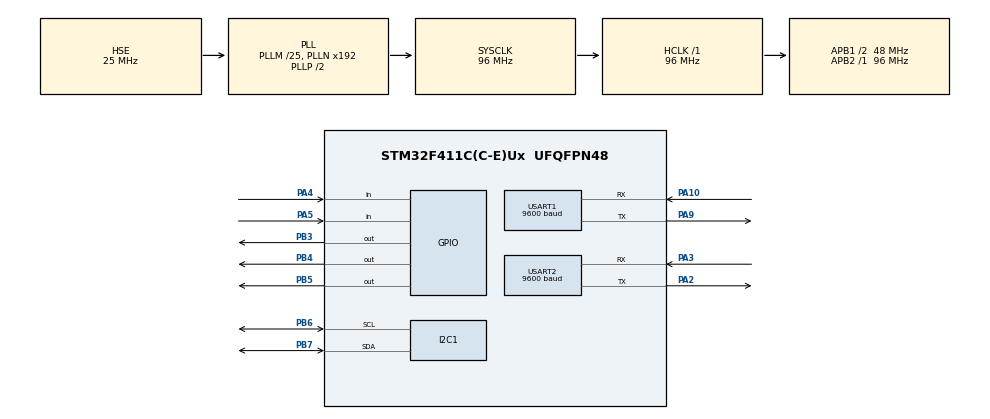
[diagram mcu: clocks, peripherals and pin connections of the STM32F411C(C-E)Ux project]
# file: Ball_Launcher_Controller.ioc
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Mcu.Family=STM32F4
Mcu.Name=STM32F411C(C-E)Ux
Mcu.Package=UFQFPN48
NVIC.PriorityGroup=NVIC_PRIORITYGROUP_4
PA10.Mode=Asynchronous
PA10.Signal=USART1_RX
PA2.Mode=Asynchronous
PA2.Signal=USART2_TX
PA3.Mode=Asynchronous
PA3.Signal=USART2_RX
PA4.GPIO_PuPd=GPIO_PULLDOWN
PA4.Signal=GPIO_Input
PA5.GPIO_PuPd=GPIO_PULLDOWN
PA5.Signal=GPIO_Input
PA9.Mode=Asynchronous
PA9.Signal=USART1_TX
PB3.Signal=GPIO_Output
PB4.Signal=GPIO_Output
PB5.Signal=GPIO_Output
PB6.Mode=I2C
PB6.Signal=I2C1_SCL
PB7.Mode=I2C
PB7.Signal=I2C1_SDA
PH0\ -\ OSC_IN.Mode=HSE-External-Oscillator
PH0\ -\ OSC_IN.Signal=RCC_OSC_IN
PH1\ -\ OSC_OUT.Mode=HSE-External-Oscillator
PH1\ -\ OSC_OUT.Signal=RCC_OSC_OUT
ProjectManager.HeapSize=0x200
ProjectManager.StackSize=0x400
ProjectManager.TargetToolchain=STM32CubeIDE
RCC.48MHZClocksFreq_Value=48000000
RCC.AHBFreq_Value=96000000
RCC.APB1CLKDivider=RCC_HCLK_DIV2
RCC.APB1Freq_Value=48000000
RCC.APB1TimFreq_Value=96000000
RCC.APB2Freq_Value=96000000
RCC.APB2TimFreq_Value=96000000
RCC.CortexFreq_Value=96000000
RCC.HCLKFreq_Value=96000000
RCC.HSE_VALUE=25000000
RCC.HSI_VALUE=16000000
RCC.LSE_VALUE=32768
RCC.PLLM=25
RCC.PLLSourceVirtual=RCC_PLLSOURCE_HSE
RCC.SYSCLKFreq_VALUE=96000000
RCC.SYSCLKSource=RCC_SYSCLKSOURCE_PLLCLK
RCC.VCOOutputFreq_Value=192000000
USART1.BaudRate=9600
USART1.VirtualMode=VM_ASYNC
USART2.BaudRate=9600
USART2.VirtualMode=VM_ASYNC
board=custom

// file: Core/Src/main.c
/* USER CODE BEGIN Header */
/**
  ******************************************************************************
  * @file            main.c
  * @brief           Main program body
  ******************************************************************************
  * @attention
  *
  * Copyright (c) 2024 STMicroelectronics.
  * All rights reserved.
  *
  * This software is licensed under terms that can be found in the LICENSE file
  * in the root directory of this software component.
  * If no LICENSE file comes with this software, it is provided AS-IS.
  *
  ******************************************************************************
  */
/* USER CODE END Header */
#include "main.h"

/* USER CODE BEGIN Includes */
#include "mpu6050.h"
#include <stdio.h>
#include <string.h>
/* USER CODE END Includes */

I2C_HandleTypeDef hi2c1;

UART_HandleTypeDef huart1;
UART_HandleTypeDef huart2;

void SystemClock_Config(void);
static void MX_GPIO_Init(void);
static void MX_I2C1_Init(void);
static void MX_USART1_UART_Init(void);
static void MX_USART2_UART_Init(void);

/* USER CODE BEGIN 0 */

int32_t gX = 0;
int32_t gY = 0;
int32_t gZ = 0;
uint16_t stat = 0;
uint16_t shot = 0;
uint16_t move = 0;
char buffer[100];
/* USER CODE END 0 */

int main(void)
{

  /* MCU Configuration--------------------------------------------------------*/

  /* Reset of all peripherals, Initializes the Flash interface and the Systick. */
  HAL_Init();

  /* Configure the system clock */
  SystemClock_Config();

  /* Initialize all configured peripherals */
  MX_GPIO_Init();
  MX_I2C1_Init();
  MX_USART1_UART_Init();
  MX_USART2_UART_Init();
  /* USER CODE BEGIN 2 */

  MPU6050 imu;
  stat = mpu6050_init(&imu, &hi2c1);
  mpu6050_calibrate(&imu);
  /* USER CODE END 2 */

  /* Infinite loop */
  /* USER CODE BEGIN WHILE */
  while (1)
  {

	  shot = HAL_GPIO_ReadPin(GPIOA, GPIO_PIN_4);
	  move = HAL_GPIO_ReadPin(GPIOA, GPIO_PIN_5);

	  HAL_GPIO_WritePin(GPIOB, GPIO_PIN_3, stat);
	  HAL_GPIO_WritePin(GPIOB, GPIO_PIN_4, shot);
	  HAL_GPIO_WritePin(GPIOB, GPIO_PIN_5, move);

	  mpu6050_update(&imu);
	  gX = mpu6050_get_gX(&imu);
	  gY = mpu6050_get_gY(&imu);
	  gZ = mpu6050_get_gZ(&imu);

	  snprintf(buffer, sizeof(buffer), "%ld\t%ld\t%ld\t%ld\r\n",move,shot,gZ,gY);
	  HAL_UART_Transmit(&huart1, (uint8_t *)buffer, strlen(buffer), 100);
	  HAL_UART_Transmit(&huart2, (uint8_t *)buffer, strlen(buffer), 100);
	  HAL_Delay(10);
    /* USER CODE END WHILE */

  }
}

void SystemClock_Config(void)
{
  RCC_OscInitTypeDef RCC_OscInitStruct = {0};
  RCC_ClkInitTypeDef RCC_ClkInitStruct = {0};

  /** Configure the main internal regulator output voltage
  */
  __HAL_RCC_PWR_CLK_ENABLE();
  __HAL_PWR_VOLTAGESCALING_CONFIG(PWR_REGULATOR_VOLTAGE_SCALE1);

  /** Initializes the RCC Oscillators according to the specified parameters
  * in the RCC_OscInitTypeDef structure.
  */
  RCC_OscInitStruct.OscillatorType = RCC_OSCILLATORTYPE_HSE;
  RCC_OscInitStruct.HSEState = RCC_HSE_ON;
  RCC_OscInitStruct.PLL.PLLState = RCC_PLL_ON;
  RCC_OscInitStruct.PLL.PLLSource = RCC_PLLSOURCE_HSE;
  RCC_OscInitStruct.PLL.PLLM = 25;
  RCC_OscInitStruct.PLL.PLLN = 192;
  RCC_OscInitStruct.PLL.PLLP = RCC_PLLP_DIV2;
  RCC_OscInitStruct.PLL.PLLQ = 4;
  if (HAL_RCC_OscConfig(&RCC_OscInitStruct) != HAL_OK)
  {
    Error_Handler();
  }

  /** Initializes the CPU, AHB and APB buses clocks
  */
  RCC_ClkInitStruct.ClockType = RCC_CLOCKTYPE_HCLK|RCC_CLOCKTYPE_SYSCLK
                              |RCC_CLOCKTYPE_PCLK1|RCC_CLOCKTYPE_PCLK2;
  RCC_ClkInitStruct.SYSCLKSource = RCC_SYSCLKSOURCE_PLLCLK;
  RCC_ClkInitStruct.AHBCLKDivider = RCC_SYSCLK_DIV1;
  RCC_ClkInitStruct.APB1CLKDivider = RCC_HCLK_DIV2;
  RCC_ClkInitStruct.APB2CLKDivider = RCC_HCLK_DIV1;

  if (HAL_RCC_ClockConfig(&RCC_ClkInitStruct, FLASH_LATENCY_3) != HAL_OK)
  {
    Error_Handler();
  }
}

static void MX_I2C1_Init(void)
{

  hi2c1.Instance = I2C1;
  hi2c1.Init.ClockSpeed = 100000;
  hi2c1.Init.DutyCycle = I2C_DUTYCYCLE_2;
  hi2c1.Init.OwnAddress1 = 0;
  hi2c1.Init.AddressingMode = I2C_ADDRESSINGMODE_7BIT;
  hi2c1.Init.DualAddressMode = I2C_DUALADDRESS_DISABLE;
  hi2c1.Init.OwnAddress2 = 0;
  hi2c1.Init.GeneralCallMode = I2C_GENERALCALL_DISABLE;
  hi2c1.Init.NoStretchMode = I2C_NOSTRETCH_DISABLE;
  if (HAL_I2C_Init(&hi2c1) != HAL_OK)
  {
    Error_Handler();
  }

}

static void MX_USART1_UART_Init(void)
{

  huart1.Instance = USART1;
  huart1.Init.BaudRate = 9600;
  huart1.Init.WordLength = UART_WORDLENGTH_8B;
  huart1.Init.StopBits = UART_STOPBITS_1;
  huart1.Init.Parity = UART_PARITY_NONE;
  huart1.Init.Mode = UART_MODE_TX_RX;
  huart1.Init.HwFlowCtl = UART_HWCONTROL_NONE;
  huart1.Init.OverSampling = UART_OVERSAMPLING_16;
  if (HAL_UART_Init(&huart1) != HAL_OK)
  {
    Error_Handler();
  }

}

static void MX_USART2_UART_Init(void)
{

  huart2.Instance = USART2;
  huart2.Init.BaudRate = 9600;
  huart2.Init.WordLength = UART_WORDLENGTH_8B;
  huart2.Init.StopBits = UART_STOPBITS_1;
  huart2.Init.Parity = UART_PARITY_NONE;
  huart2.Init.Mode = UART_MODE_TX_RX;
  huart2.Init.HwFlowCtl = UART_HWCONTROL_NONE;
  huart2.Init.OverSampling = UART_OVERSAMPLING_16;
  if (HAL_UART_Init(&huart2) != HAL_OK)
  {
    Error_Handler();
  }

}

static void MX_GPIO_Init(void)
{
  GPIO_InitTypeDef GPIO_InitStruct = {0};

  /* GPIO Ports Clock Enable */
  __HAL_RCC_GPIOH_CLK_ENABLE();
  __HAL_RCC_GPIOA_CLK_ENABLE();
  __HAL_RCC_GPIOB_CLK_ENABLE();

  /*Configure GPIO pin Output Level */
  HAL_GPIO_WritePin(GPIOB, GPIO_PIN_3|GPIO_PIN_4|GPIO_PIN_5, GPIO_PIN_RESET);

  /*Configure GPIO pins : PA4 PA5 */
  GPIO_InitStruct.Pin = GPIO_PIN_4|GPIO_PIN_5;
  GPIO_InitStruct.Mode = GPIO_MODE_INPUT;
  GPIO_InitStruct.Pull = GPIO_PULLDOWN;
  HAL_GPIO_Init(GPIOA, &GPIO_InitStruct);

  /*Configure GPIO pins : PB3 PB4 PB5 */
  GPIO_InitStruct.Pin = GPIO_PIN_3|GPIO_PIN_4|GPIO_PIN_5;
  GPIO_InitStruct.Mode = GPIO_MODE_OUTPUT_PP;
  GPIO_InitStruct.Pull = GPIO_NOPULL;
  GPIO_InitStruct.Speed = GPIO_SPEED_FREQ_LOW;
  HAL_GPIO_Init(GPIOB, &GPIO_InitStruct);

}

void Error_Handler(void)
{
  __disable_irq();
  while (1)
  {
  }
}
